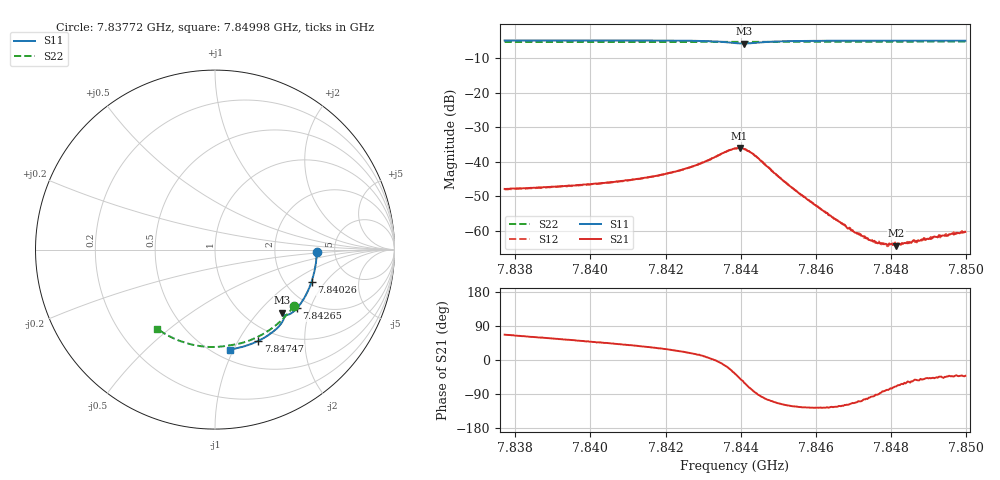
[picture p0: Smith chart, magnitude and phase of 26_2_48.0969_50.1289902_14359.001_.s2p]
#  HZ  S  RI  R  50.00
! Rohde & Schwarz Vector Network Analyzer
! Rohde-Schwarz,ZNB20-2Port,1311601062101988,3.16
! Created: UTC 12/23/2023, 3:37:11 AM
! freq[Hz]  re:S11  im:S11  re:S21  im:S21  re:S12  im:S12  re:S22  im:S22
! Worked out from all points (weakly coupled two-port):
!   401 points, 7.83772 GHz to 7.84998 GHz, reference 50 ohm
!   highest |S21| = -36.00 dB at 7.84397 GHz (marker M1); lowest = -64.3 dB at 7.84814 GHz (marker M2)
!   lowest |S11| = -5.8 dB at 7.84409 GHz (marker M3), VSWR 3.10, Z = 71.6 - j68.1 ohm
!   |S11| at or under -10 dB: nowhere
!   |S22| runs from -5.4 to -5.3 dB; largest |S21 - S12| = 0.00035
!   S11 on the Smith chart (normalised r, x): 7.83772 GHz: 3.61, -0.14; 7.84026 GHz: 2.76, -1.46; 7.84265 GHz: 1.70, -1.63; 7.84747 GHz: 0.82, -1.22; 7.84998 GHz: 0.59, -0.97
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7.837717e9  0.5667 -0.0129  0.00159 0.00372  0.00157 0.00364  0.4401 -0.3129
7.839771e9  0.5474 -0.1483  0.00296 0.00356  0.00293 0.00353  0.3425 -0.4184
7.840261e9  0.5378 -0.1801  0.00335 0.00354  0.00332 0.00351  0.3153 -0.4394
7.84112e9  0.5158 -0.2344  0.00433 0.00345  0.00427 0.00344  0.2647 -0.4721
7.841825e9  0.4926 -0.2778  0.00546 0.00325  0.00542 0.00323  0.2206 -0.4946
7.842653e9  0.4568 -0.3269  0.00792 0.00265  0.00782 0.00265  0.1661 -0.5154
7.843388e9  0.4095 -0.3624  0.0123 -0.00091  0.0122 -0.000751  0.1158 -0.528
7.843848e9  0.3755 -0.36  0.0126 -0.00918  0.0127 -0.00896  0.0849 -0.5323
7.843971e9  0.3722 -0.3548  0.0106 -0.0118  0.0107 -0.0115  0.0773 -0.5335
7.844094e9  0.3738 -0.3507  0.00752 -0.0133  0.00768 -0.0131  0.0697 -0.5344
7.844369e9  0.3834 -0.3559  0.00121 -0.0123  0.00124 -0.0123  0.052 -0.5376
7.845197e9  0.3686 -0.4123  -0.00242 -0.00438  -0.00242 -0.0044  -0.00584 -0.543
7.845902e9  0.3329 -0.4498  -0.00149 -0.00208  -0.00149 -0.00209  -0.0555 -0.5407
7.846883e9  0.2773 -0.4891  -0.000501 -0.000976  -0.000509 -0.000992  -0.1239 -0.53
7.847282e9  0.2534 -0.5023  -0.000196 -0.000814  -0.000209 -0.000768  -0.151 -0.5233
7.847466e9  0.2423 -0.5079  -8.91e-05 -0.000719  -0.000121 -0.000733  -0.1634 -0.5198
7.847589e9  0.2349 -0.5116  -1.98e-05 -0.000694  -5.12e-05 -0.000667  -0.1717 -0.5171
7.847957e9  0.2121 -0.5217  0.000148 -0.000626  0.00017 -0.000639  -0.1961 -0.5087
7.848141e9  0.2005 -0.5262  0.000212 -0.00057  0.000211 -0.000582  -0.208 -0.5037
7.848692e9  0.1656 -0.5383  0.000431 -0.000575  0.000407 -0.000548  -0.2434 -0.4881
7.849612e9  0.106 -0.5528  0.000671 -0.000619  0.000687 -0.000602  -0.2995 -0.4566
7.84998e9  0.0819 -0.5567  0.000726 -0.000645  0.000726 -0.000657  -0.3209 -0.442
